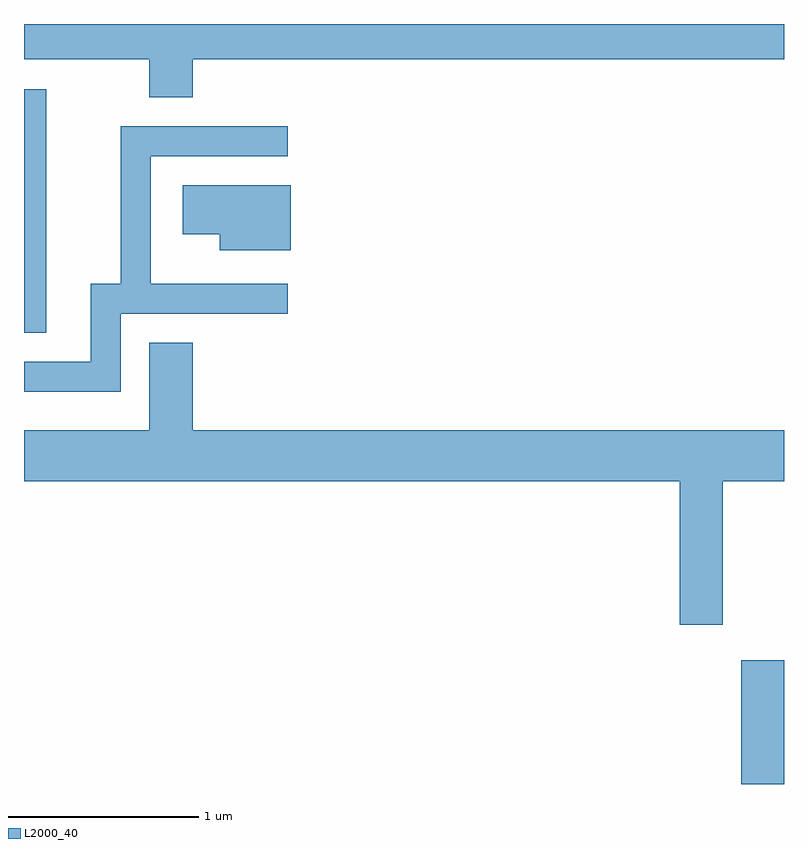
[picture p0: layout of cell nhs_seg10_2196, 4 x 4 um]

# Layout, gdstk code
import gdstk
lib = gdstk.Library(unit=1e-6, precision=1e-09)
def R(c, l, rs):  # rectangles x0, y0, x1, y1
    for r in rs: c.add(gdstk.rectangle(r[:2], r[2:], *l))
def P(c, l, *ps):  # polygons
    for p in ps: c.add(gdstk.Polygon(p, *l))
L2000_40 = (2000, 40)

nhs_seg10_2196 = lib.new_cell('nhs_seg10_2196')
R(nhs_seg10_2196, L2000_40, [(253.386,2134.522,253.611,2135.174), (249.611,2136.896,249.729,2138.179)])
P(nhs_seg10_2196, L2000_40, [(250.499,2138.336),(253.611,2138.336),(253.611,2138.522),(249.611,2138.522),(249.611,2138.336),(250.271,2138.336),(250.271,2138.136),(250.499,2138.136)],
  [(250.119,2136.996),(250.998,2136.996),(250.998,2137.154),(250.279,2137.154),(250.279,2137.826),(250.998,2137.826),(250.998,2137.984),(250.121,2137.984),(250.121,2137.154),(249.961,2137.154),(249.961,2136.744),(249.611,2136.744),(249.611,2136.586),(250.119,2136.586)],
  [(251.014,2137.674),(250.446,2137.674),(250.446,2137.416),(250.641,2137.416),(250.641,2137.331),(251.014,2137.331)],
  [(253.289,2136.116),(253.611,2136.116),(253.611,2136.384),(250.499,2136.384),(250.499,2136.844),(250.271,2136.844),(250.271,2136.384),(249.611,2136.384),(249.611,2136.116),(253.061,2136.116),(253.061,2135.361),(253.289,2135.361)])

lib.write_gds('nhs_seg10_2196.gds')
